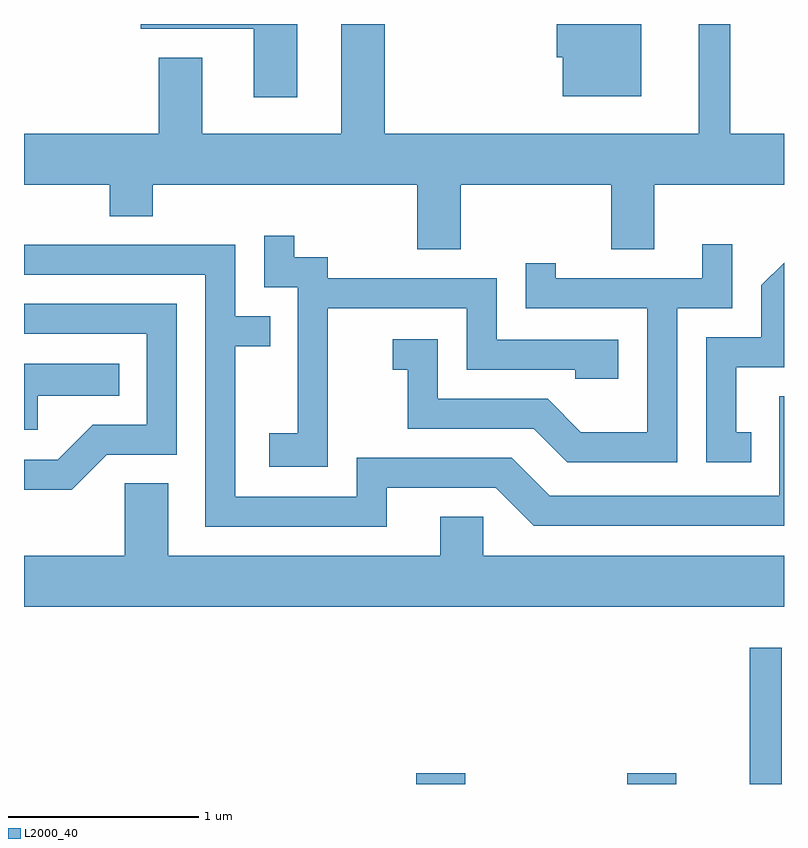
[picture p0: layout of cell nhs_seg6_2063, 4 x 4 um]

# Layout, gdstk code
import gdstk
lib = gdstk.Library(unit=1e-6, precision=1e-09)
def R(c, l, rs):  # rectangles x0, y0, x1, y1
    for r in rs: c.add(gdstk.rectangle(r[:2], r[2:], *l))
def P(c, l, *ps):  # polygons
    for p in ps: c.add(gdstk.Polygon(p, *l))
L2000_40 = (2000, 40)

nhs_seg6_2063 = lib.new_cell('nhs_seg6_2063')
R(nhs_seg6_2063, L2000_40, [(249.676,1600.162,249.934,1600.219), (250.786,1600.162,251.044,1600.219), (251.431,1600.162,251.599,1600.878)])
P(nhs_seg6_2063, L2000_40, [(249.909,1603.316),(250.701,1603.316),(250.701,1602.976),(250.929,1602.976),(250.929,1603.316),(251.611,1603.316),(251.611,1603.584),(251.329,1603.584),(251.329,1604.162),(251.161,1604.162),(251.161,1603.584),(249.509,1603.584),(249.509,1604.162),(249.281,1604.162),(249.281,1603.584),(248.549,1603.584),(248.549,1603.984),(248.321,1603.984),(248.321,1603.584),(247.611,1603.584),(247.611,1603.316),(248.061,1603.316),(248.061,1603.151),(248.289,1603.151),(248.289,1603.316),(249.681,1603.316),(249.681,1602.976),(249.909,1602.976)],
  [(250.859,1604.162),(250.416,1604.162),(250.416,1603.986),(250.446,1603.986),(250.446,1603.781),(250.859,1603.781)],
  [(249.049,1604.162),(248.226,1604.162),(248.226,1604.136),(248.821,1604.136),(248.821,1603.776),(249.049,1603.776)],
  [(249.209,1602.666),(249.941,1602.666),(249.941,1602.341),(250.511,1602.341),(250.511,1602.296),(250.739,1602.296),(250.739,1602.499),(250.099,1602.499),(250.099,1602.824),(249.209,1602.824),(249.209,1602.934),(249.034,1602.934),(249.034,1603.048),(248.876,1603.048),(248.876,1602.776),(249.051,1602.776),(249.051,1602.009),(248.901,1602.009),(248.901,1601.831),(249.209,1601.831)],
  [(251.049,1602.666),(251.339,1602.666),(251.339,1603.003),(251.181,1603.003),(251.181,1602.824),(250.409,1602.824),(250.409,1602.903),(250.251,1602.903),(250.251,1602.666),(250.891,1602.666),(250.891,1602.014),(250.542,1602.014),(250.367,1602.189),(249.789,1602.189),(249.789,1602.504),(249.553,1602.504),(249.553,1602.341),(249.631,1602.341),(249.631,1602.031),(250.294,1602.031),(250.469,1601.856),(251.049,1601.856)],
  [(249.519,1601.721),(250.094,1601.721),(250.294,1601.521),(251.611,1601.521),(251.611,1602.204),(251.586,1602.204),(251.586,1601.679),(250.377,1601.679),(250.177,1601.879),(249.361,1601.879),(249.361,1601.674),(248.724,1601.674),(248.724,1602.466),(248.908,1602.466),(248.908,1602.624),(248.724,1602.624),(248.724,1602.999),(247.611,1602.999),(247.611,1602.841),(248.566,1602.841),(248.566,1601.516),(249.519,1601.516)],
  [(251.438,1602.014),(251.359,1602.014),(251.359,1602.356),(251.611,1602.356),(251.611,1602.906),(251.491,1602.787),(251.491,1602.514),(251.201,1602.514),(251.201,1601.856),(251.438,1601.856)],
  [(248.047,1601.896),(248.414,1601.896),(248.414,1602.689),(247.611,1602.689),(247.611,1602.531),(248.256,1602.531),(248.256,1602.054),(247.974,1602.054),(247.789,1601.869),(247.611,1601.869),(247.611,1601.711),(247.862,1601.711)],
  [(247.684,1602.206),(248.113,1602.206),(248.113,1602.374),(247.611,1602.374),(247.611,1602.026),(247.684,1602.026)],
  [(251.611,1601.364),(250.029,1601.364),(250.029,1601.569),(249.801,1601.569),(249.801,1601.364),(248.369,1601.364),(248.369,1601.744),(248.141,1601.744),(248.141,1601.364),(247.611,1601.364),(247.611,1601.096),(251.611,1601.096)])

lib.write_gds('nhs_seg6_2063.gds')
